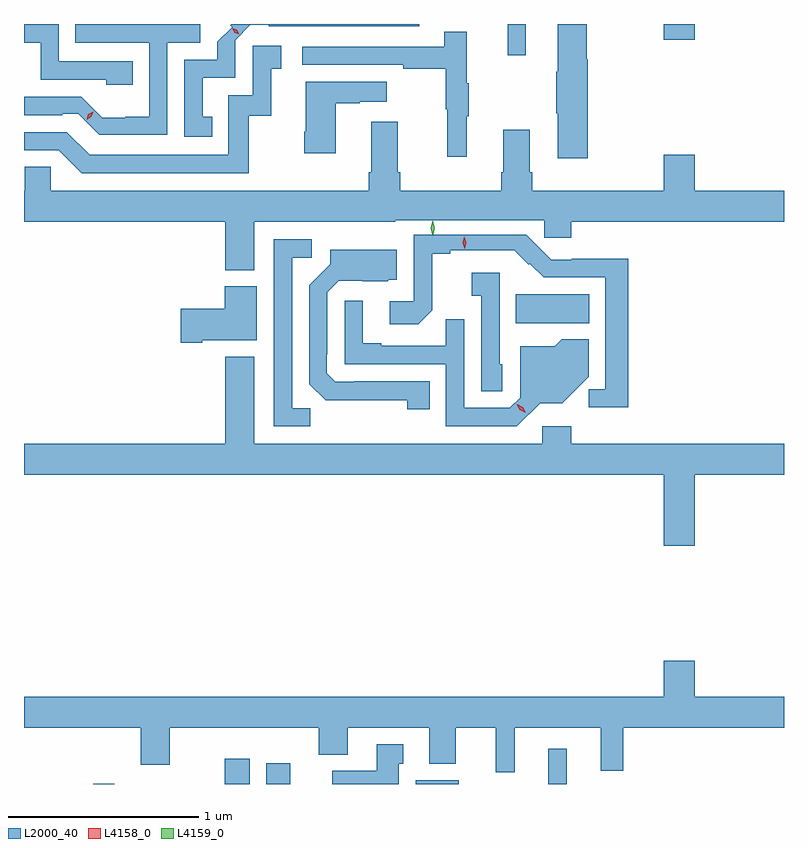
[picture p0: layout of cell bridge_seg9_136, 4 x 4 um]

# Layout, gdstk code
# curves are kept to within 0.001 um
import gdstk
lib = gdstk.Library(unit=1e-6, precision=1e-09)
def R(c, l, rs):  # rectangles x0, y0, x1, y1
    for r in rs: c.add(gdstk.rectangle(r[:2], r[2:], *l))
def P(c, l, *ps):  # polygons
    for p in ps: c.add(gdstk.Polygon(p, *l))
L2000_40 = (2000, 40)
L4158_0 = (4158, 0)
L4159_0 = (4159, 0)

bridge_seg9_136 = lib.new_cell('bridge_seg9_136')
R(bridge_seg9_136, L2000_40, [(389.778,1210.777,389.89,1210.779), (390.47,1210.777,390.601,1210.909), (390.689,1210.777,390.814,1210.885), (391.475,1210.777,391.702,1210.798), (392.174,1210.777,392.271,1210.963), (392.002,1213.202,392.389,1213.354), (391.959,1214.613,392.056,1214.777), (392.78,1214.694,392.944,1214.777)])
P(bridge_seg9_136, L2000_40, [(390.404,1214.289),(390.355,1214.289),(390.355,1214.493),(390.525,1214.493),(390.525,1214.691),(390.606,1214.772),(390.703,1214.772),(390.703,1214.766),(391.494,1214.766),(391.494,1214.777),(390.505,1214.777),(390.499,1214.771),(390.51,1214.761),(390.432,1214.683),(390.432,1214.589),(390.258,1214.589),(390.258,1214.184),(390.404,1214.184)],
  [(390.168,1214.679),(390.342,1214.679),(390.342,1214.777),(390.245,1214.777),(390.245,1214.775),(389.794,1214.775),(389.794,1214.777),(389.683,1214.777),(389.683,1214.679),(390.072,1214.679),(390.072,1214.29),(389.947,1214.29),(389.947,1214.283),(389.825,1214.283),(389.714,1214.394),(389.414,1214.394),(389.414,1214.298),(389.615,1214.298),(389.615,1214.304),(389.7,1214.304),(389.811,1214.193),(390.168,1214.193)],
  [(392.381,1214.592),(392.376,1214.592),(392.376,1214.777),(392.222,1214.777),(392.222,1214.525),(392.215,1214.525),(392.215,1214.308),(392.222,1214.308),(392.222,1214.07),(392.381,1214.07)],
  [(389.987,1214.58),(389.598,1214.58),(389.598,1214.775),(389.414,1214.775),(389.414,1214.679),(389.502,1214.679),(389.502,1214.484),(389.847,1214.484),(389.847,1214.456),(389.987,1214.456)],
  [(391.745,1214.291),(391.756,1214.291),(391.756,1214.465),(391.745,1214.465),(391.745,1214.737),(391.627,1214.737),(391.627,1214.658),(390.879,1214.658),(390.879,1214.562),(391.411,1214.562),(391.411,1214.542),(391.635,1214.542),(391.635,1214.328),(391.642,1214.328),(391.642,1214.079),(391.745,1214.079)],
  [(390.598,1214.295),(390.716,1214.295),(390.716,1214.541),(390.769,1214.541),(390.769,1214.662),(390.618,1214.662),(390.618,1214.403),(390.489,1214.403),(390.489,1214.088),(389.76,1214.088),(389.64,1214.208),(389.414,1214.208),(389.414,1214.112),(389.598,1214.112),(389.718,1213.992),(390.598,1213.992)],
  [(391.054,1214.359),(391.181,1214.359),(391.181,1214.369),(391.324,1214.369),(391.324,1214.473),(390.896,1214.473),(390.896,1214.209),(390.889,1214.209),(390.889,1214.097),(391.054,1214.097)],
  [(390.625,1213.736),(391.367,1213.736),(391.367,1213.743),(392.151,1213.743),(392.151,1213.651),(392.294,1213.651),(392.294,1213.736),(393.414,1213.736),(393.414,1213.9),(392.944,1213.9),(392.944,1214.089),(392.78,1214.089),(392.78,1213.9),(392.09,1213.9),(392.09,1213.996),(392.077,1213.996),(392.077,1214.221),(391.937,1214.221),(391.937,1213.996),(391.925,1213.996),(391.925,1213.9),(391.394,1213.9),(391.394,1213.996),(391.381,1213.996),(391.381,1214.263),(391.241,1214.263),(391.241,1213.996),(391.229,1213.996),(391.229,1213.9),(389.556,1213.9),(389.556,1214.027),(389.417,1214.027),(389.417,1213.9),(389.414,1213.9),(389.414,1213.736),(390.473,1213.736),(390.473,1213.481),(390.625,1213.481)],
  [(392.593,1213.541),(392.297,1213.541),(392.297,1213.536),(392.189,1213.536),(392.058,1213.667),(391.464,1213.667),(391.464,1213.317),(391.338,1213.317),(391.338,1213.196),(391.488,1213.196),(391.563,1213.271),(391.563,1213.568),(391.657,1213.568),(391.657,1213.585),(391.994,1213.585),(392.07,1213.51),(392.076,1213.516),(392.149,1213.443),(392.474,1213.443),(392.474,1212.854),(392.386,1212.854),(392.386,1212.761),(392.593,1212.761)],
  [(390.921,1212.755),(390.825,1212.755),(390.825,1213.548),(390.928,1213.548),(390.928,1213.644),(390.729,1213.644),(390.729,1212.66),(390.921,1212.66)],
  [(391.55,1212.897),(391.153,1212.897),(391.153,1212.894),(391.053,1212.894),(391.008,1212.939),(391.008,1213.039),(391.011,1213.039),(391.011,1213.365),(391.071,1213.425),(391.328,1213.424),(391.334,1213.43),(391.375,1213.43),(391.375,1213.588),(391.025,1213.588),(391.025,1213.512),(390.915,1213.402),(390.915,1212.882),(391.001,1212.796),(391.432,1212.796),(391.432,1212.75),(391.55,1212.75)],
  [(391.932,1212.987),(391.917,1212.987),(391.917,1213.468),(391.77,1213.468),(391.77,1213.347),(391.821,1213.347),(391.821,1212.843),(391.932,1212.843)],
  [(390.352,1213.112),(390.64,1213.112),(390.64,1213.396),(390.47,1213.396),(390.47,1213.278),(390.24,1213.278),(390.24,1213.1),(390.352,1213.1)],
  [(392.13,1212.782),(392.248,1212.782),(392.386,1212.92),(392.386,1213.117),(392.244,1213.117),(392.208,1213.081),(392.025,1213.081),(392.025,1212.81),(391.971,1212.756),(391.731,1212.756),(391.731,1213.222),(391.633,1213.222),(391.633,1213.083),(391.294,1213.083),(391.294,1213.096),(391.198,1213.096),(391.198,1213.321),(391.101,1213.321),(391.101,1212.987),(391.635,1212.987),(391.635,1212.66),(392.008,1212.66)],
  [(392.944,1212.404),(393.414,1212.404),(393.414,1212.568),(392.294,1212.568),(392.294,1212.661),(392.142,1212.661),(392.142,1212.568),(390.625,1212.568),(390.625,1213.027),(390.473,1213.027),(390.473,1212.568),(389.414,1212.568),(389.414,1212.404),(392.78,1212.404),(392.78,1212.03),(392.944,1212.03)],
  [(391.997,1211.072),(392.45,1211.072),(392.45,1210.847),(392.567,1210.847),(392.567,1211.072),(393.414,1211.072),(393.414,1211.236),(392.944,1211.236),(392.944,1211.425),(392.78,1211.425),(392.78,1211.236),(389.414,1211.236),(389.414,1211.072),(390.029,1211.072),(390.029,1210.878),(390.181,1210.878),(390.181,1211.072),(390.965,1211.072),(390.965,1210.931),(391.117,1210.931),(391.117,1211.072),(391.547,1211.072),(391.547,1210.883),(391.687,1210.883),(391.687,1211.072),(391.898,1211.072),(391.898,1210.839),(391.997,1210.839)],
  [(391.387,1210.884),(391.411,1210.884),(391.411,1210.987),(391.271,1210.987),(391.271,1210.846),(391.036,1210.846),(391.036,1210.777),(391.387,1210.777)])
P(bridge_seg9_136, L4158_0, [(391.733,1213.594),(391.733,1213.594),(391.722,1213.625),(391.73,1213.657),(391.73,1213.657),(391.731,1213.657),(391.742,1213.626),(391.733,1213.594)],
  [(390.547,1214.724),(390.522,1214.731),(390.51,1214.754),(390.51,1214.754),(390.51,1214.754),(390.535,1214.746),(390.547,1214.724),(390.547,1214.724)],
  [(389.743,1214.273),(389.743,1214.274),(389.753,1214.301),(389.778,1214.316),(389.778,1214.316),(389.778,1214.315),(389.768,1214.288),(389.743,1214.273)],
  [(392.054,1212.73),(392.024,1212.746),(392.008,1212.776),(392.008,1212.776),(392.009,1212.776),(392.038,1212.76),(392.054,1212.73),(392.054,1212.73)])
P(bridge_seg9_136, L4159_0, [(391.565,1213.663),(391.565,1213.663),(391.556,1213.702),(391.566,1213.741),(391.566,1213.741),(391.566,1213.741),(391.576,1213.702),(391.566,1213.663)])

lib.write_gds('bridge_seg9_136.gds')
